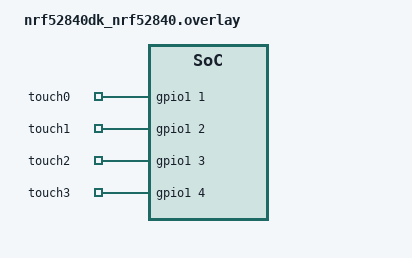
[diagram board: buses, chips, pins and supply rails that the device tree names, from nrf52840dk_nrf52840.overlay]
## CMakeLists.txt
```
# SPDX-License-Identifier: Apache-2.0

cmake_minimum_required(VERSION 3.20.0)
find_package(Zephyr REQUIRED HINTS $ENV{ZEPHYR_BASE})
project(dynaforce)

target_sources(app PRIVATE src/main.c)
```

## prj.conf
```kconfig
CONFIG_PM=y
CONFIG_LOG=n
CONFIG_SERIAL=n
CONFIG_BT=y
CONFIG_BT_BROADCASTER=y
CONFIG_BT_CTLR_PHY_CODED=y
CONFIG_BT_CTLR_ADV_EXT=y

CONFIG_BT_EXT_ADV=y
CONFIG_BT_USER_PHY_UPDATE=y
#enble coded
CONFIG_BT_CTLR_ADV_EXT=y

CONFIG_BT_EXT_ADV=y
CONFIG_MAIN_STACK_SIZE=4096
CONFIG_ISR_STACK_SIZE=4096
CONFIG_HEAP_MEM_POOL_SIZE=2048
```

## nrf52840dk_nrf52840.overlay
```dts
/ {
    buttons {
        touch0: touch_0 {
            gpios = <&gpio1 1 (GPIO_ACTIVE_HIGH | GPIO_PULL_DOWN)>;
        };
    };
};

/ {
    buttons {
        touch1: touch_1 {
            gpios = <&gpio1 2 (GPIO_ACTIVE_HIGH | GPIO_PULL_DOWN)>;
        };
    };
};

/ {
    buttons {
        touch2: touch_2 {
            gpios = <&gpio1 3 (GPIO_ACTIVE_HIGH | GPIO_PULL_DOWN)>;
        };
    };
};

/ {
    buttons {
        touch3: touch_3 {
            gpios = <&gpio1 4 (GPIO_ACTIVE_HIGH | GPIO_PULL_DOWN)>;
        };
    };
};
```

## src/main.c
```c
#include <zephyr/kernel.h>
#include <zephyr/device.h>
#include <zephyr/drivers/gpio.h>
#include <zephyr/sys/util.h>
#include <zephyr/logging/log.h>
#include <zephyr/bluetooth/bluetooth.h>
#include <zephyr/bluetooth/gap.h>
#include <zephyr/bluetooth/addr.h>

#include <zephyr/types.h>
#include <stddef.h>
#include <zephyr/sys/printk.h>
#include <zephyr/sys/util.h>


#include <zephyr/bluetooth/hci.h>


LOG_MODULE_REGISTER(dynaforce, LOG_LEVEL_INF);
#define BUTTONS_NODE DT_PATH(buttons)
#define GPIO0_DEV DEVICE_DT_GET(DT_NODELABEL(gpio0))
#define GPIO1_DEV DEVICE_DT_GET(DT_NODELABEL(gpio1))

//This solution has not been finished, it is not fully working yet.
//However, it presents the idea about acknowledgements via scan requests, and the debouncing of the buttons
//that were mentioned in the report.

#define GPIO_SPEC_AND_COMMA(button) GPIO_DT_SPEC_GET(button, gpios),
static const struct gpio_dt_spec buttons[] = {
#if DT_NODE_EXISTS(BUTTONS_NODE)
	DT_FOREACH_CHILD(BUTTONS_NODE, GPIO_SPEC_AND_COMMA)
#endif
};

//ble address of central towards which we are advertising 47:C3:E7:47:74:2C
#define CENTRAL_ADDR 0x2C,0x74,0x47,0xE7,0xC3,0x47
static const uint8_t central_addr[6] = {CENTRAL_ADDR};
bt_addr_le_t central_addr_le = {.type = BT_ADDR_LE_RANDOM, .a = {.val = CENTRAL_ADDR}};

#define ADV_MIN 100/0.625
#define ADV_MAX 101/0.625
#define COMPANY_ID_CODE            0x0059//This is nordic's company ID, Algra Group should
//get their own company ID if using this solution


#define DEVICE_NAME "DynaForceButtons"
#define DEVICE_NAME_LEN (sizeof(DEVICE_NAME) - 1)
static struct bt_le_ext_adv *adv;

typedef struct __attribute__((packed)) message{
	uint32_t buttonstate;
	int64_t timestamp;
} message_t;

typedef struct adv_mfg_data {
	uint16_t company_code;	    /* Company Identifier Code. */
	message_t message;      
} adv_mfg_data_type;

static adv_mfg_data_type adv_mfg_data = {COMPANY_ID_CODE,0,0};

static const struct bt_data ad[] = {
	BT_DATA_BYTES(BT_DATA_FLAGS, BT_LE_AD_NO_BREDR),
	BT_DATA(BT_DATA_NAME_COMPLETE, DEVICE_NAME, DEVICE_NAME_LEN),
	
};



static const struct bt_data sd[] = {
	BT_DATA(BT_DATA_MANUFACTURER_DATA,&adv_mfg_data, sizeof(adv_mfg_data))
};
static struct bt_le_adv_param *adv_param =
	BT_LE_ADV_PARAM(BT_LE_ADV_OPT_SCANNABLE | BT_LE_ADV_OPT_NOTIFY_SCAN_REQ,
	ADV_MIN,
	ADV_MAX,
	NULL);

static struct gpio_callback button_cb_port0;
static struct gpio_callback button_cb_port1;
volatile uint32_t button_pressed = 0;
volatile uint32_t button_pressed2 = 0;
volatile uint64_t button_timestamp = 0;
volatile uint64_t button_timestamp2 = 0;

uint32_t pinmask_port0 = 0;
uint32_t pinmask_port1 = 0;

//semaphore to signal that a message has been received
static struct k_sem message_received;


void button_thread(void);
K_THREAD_DEFINE(button_thread_id, 1024, button_thread, NULL, NULL, NULL, 7, 0, 0);

static void scanned(struct bt_le_ext_adv *adv, struct bt_le_ext_adv_scanned_info *info) {
	char addr[BT_ADDR_LE_STR_LEN];
	bool eq = bt_addr_le_eq(&info->addr, &central_addr_le);
	LOG_INF("bool: %d", eq);
	//check if the message is from a device we care about
	if(eq){
		//give the semaphore to signal that a message has been received
		k_sem_give(&message_received);
		
		LOG_INF("Scanned by THE central");
	}

	bt_addr_le_to_str(info->addr, addr, sizeof(addr));
    LOG_INF("Scanned by addr:%s\n", addr);
	bt_addr_le_to_str(&central_addr_le, addr, sizeof(addr));
	LOG_INF("Should be:%s\n", addr);
}

static struct bt_le_ext_adv_cb adv_callbacks = {
        .sent = NULL,
		.connected = NULL,
        .scanned = scanned
 };

void button_pressed_cb(const struct device *dev, struct gpio_callback *cb, uint32_t pins)
{
	
	button_timestamp = k_uptime_get();
	button_pressed = pins;
	k_wakeup(button_thread_id);
	LOG_INF("callback2 at %d, ----------------------%d\n", button_timestamp, pins);
}

void button_pressed_cb2(const struct device *dev, struct gpio_callback *cb, uint32_t pins)
{
	
	button_timestamp2 = k_uptime_get();
	button_pressed2 = pins;
	k_wakeup(button_thread_id);
	LOG_INF("callback2 at %d, ----------------------%d\n", button_timestamp, pins);
}

void disable_button_interrupts(void){
	int err;
	for(int i = 0; i < ARRAY_SIZE(buttons); i++){
		err = gpio_pin_interrupt_configure_dt(&buttons[i],
					      GPIO_INT_DISABLE);
		if (err != 0) {
			LOG_INF("Error %d: failed to disable interrupt on %s pin %d\n",
				err, buttons[i].port->name, buttons[i].pin);
		}
	}
	
}

void enable_button_interrupts(void){
	int err;
	for(int i = 0; i < ARRAY_SIZE(buttons); i++){
		err = gpio_pin_interrupt_configure_dt(&buttons[i],
					      GPIO_INT_EDGE_TO_ACTIVE);
		if (err != 0) {
			LOG_INF("Error %d: failed to configure interrupt on %s pin %d\n",
				err, buttons[i].port->name, buttons[i].pin);
		}
	}
	
}


int buttons_init(void){
	
	for(int i = 0; i < ARRAY_SIZE(buttons); i++){
		if(buttons[i].port == GPIO0_DEV){
			pinmask_port0 |= BIT(buttons[i].pin);
		}
		else if(buttons[i].port == GPIO1_DEV){
			pinmask_port1 |= BIT(buttons[i].pin);
		}
		else{
			LOG_ERR("Button %s pin %d not on GPIO0 or GPIO1", buttons[i].port->name, buttons[i].pin);
		}
	}

	gpio_init_callback(&button_cb_port0, button_pressed_cb, pinmask_port0);
	gpio_init_callback(&button_cb_port1, button_pressed_cb2, pinmask_port1);
	int ret;
	// Check if all buttons are ready
	for (int i=0; i < ARRAY_SIZE(buttons); i++) {
		if (!gpio_is_ready_dt(&buttons[i])) {
		LOG_ERR("Error: button device %s is not ready\n",
		       buttons[i].port->name);
		return 0;
		}
		else{
			LOG_INF("Button device %s is ready\n",
		       buttons[i].port->name);
		}
	}
	// Configure all buttons as inputs
	for (int i = 0; i < ARRAY_SIZE(buttons); i++) {
		ret = gpio_pin_configure_dt(&buttons[i], GPIO_INPUT);
		if (ret != 0) {
			LOG_ERR("Error %d: failed to configure %s pin %d\n",
				ret, buttons[i].port->name, buttons[i].pin);
			return ret;
		}
		else{
			LOG_INF("Button %s pin %d configured\n",
				buttons[i].port->name, buttons[i].pin);
		}
	}

	for(int i = 0; i < ARRAY_SIZE(buttons); i++){
		ret = gpio_pin_interrupt_configure_dt(&buttons[i],
					      GPIO_INT_EDGE_TO_ACTIVE);
		if (ret != 0) {
			LOG_ERR("Error %d: failed to configure interrupt on %s pin %d\n",
				ret, buttons[i].port->name, buttons[i].pin);
			return 0;
		}
		if(buttons[i].port == GPIO0_DEV){
			gpio_add_callback(buttons[i].port, &button_cb_port0);
		}
		else if(buttons[i].port == GPIO1_DEV){
			gpio_add_callback(buttons[i].port, &button_cb_port1);
		}
		else{
			LOG_ERR("Button %s pin %d not on GPIO0 or GPIO1", buttons[i].port->name, buttons[i].pin);
		}
		LOG_INF("Set up button at %s pin %d\n", buttons[i].port->name, buttons[i].pin);
	}



	return 0;
}



static uint32_t get_buttons(void)
{
	uint32_t ret = 0;
	for (size_t i = 0; i < ARRAY_SIZE(buttons); i++) {
		int val;

		val = gpio_pin_get_dt(&buttons[i]);
		if (val < 0) {
			LOG_ERR("Cannot read gpio pin");
			return 0;
		}
		if (val) {
			ret |= 1U << i;
		}
	}

	return ret;
}

uint8_t buttonstateToUint(uint32_t buttonstate, uint32_t buttonstate2){
	//pack the 8 buttons into a uint8_t
	uint8_t ret = 0;
	int ctr = 0;
	//check buttons on the first port
	for(int i = 0; i < 32; i++){
		if(pinmask_port0 & (1 << i)){
			ret |= ((buttonstate >> i) & 1) << ctr;
			ctr++;
			if(ctr > 4){
				LOG_ERR("More buttons than attached to the port are pressed, buttonstate: 0x%x, ret 0x%x", buttonstate, ret);
				break;
			}
		}
	}
	//check buttons on the second port
	ctr = 0;
	for(int i = 0; i < 32; i++){
		if(pinmask_port1 & (1 << i)){
			ret |= ((buttonstate2 >> i) & 1) << (ctr + 4);
			ctr++;
			if(ctr > 4){
				LOG_ERR("More buttons than attached to the port are pressed, buttonstate2: 0x%x, ret 0x%x", buttonstate2, ret);
				break;
			}
		}
	}

	return ret;
}

void button_thread(void){
	LOG_INF("Button thread started");
	uint32_t buttons = 0;
	uint32_t prev_buttons = 0;
	int err;
	int messages_waiting = 0;
	uint64_t timestamp = 0;
	uint64_t timestamp2 = 0;
	message_t to_send[10];
	k_sleep(K_MSEC(1000));
	while(1){
		//sleep until a button is pressed
		k_sleep(K_FOREVER);

		LOG_INF("Thread woken up");
		//disable the button interrupts
		disable_button_interrupts();
		adv_mfg_data.message.buttonstate = (uint16_t)buttonstateToUint(button_pressed, button_pressed2);
		adv_mfg_data.message.timestamp = button_timestamp;
		err = bt_le_ext_adv_set_data(adv, ad, ARRAY_SIZE(ad), sd, ARRAY_SIZE(sd));
		if (err) {
			LOG_ERR("Failed to set advertising data (%d)\n", err);
			return -1;
		}
		LOG_INF("Message updated to %d, %d", adv_mfg_data.message.buttonstate, adv_mfg_data.message.timestamp);
		err = bt_le_ext_adv_start(adv, BT_LE_EXT_ADV_START_DEFAULT);
		if (err) {
			LOG_ERR("Advertising failed to start (err %d)\n", err);
			k_sleep(K_FOREVER);
		}
		LOG_INF("Advertising started");
		timestamp = k_uptime_get();
		//start polling buttons for subsequent presses
		do{
			LOG_INF("Polling buttons");
			k_msleep(100);
			prev_buttons = buttons;
			buttons = get_buttons();
			if(prev_buttons == 0 && buttons != 0){
				//if a button is pressed, add it to the message
				to_send[messages_waiting].buttonstate = buttons;
				to_send[messages_waiting].timestamp = k_uptime_get();
				messages_waiting++;
				if(messages_waiting >= 9){
					LOG_ERR("Too many messages waiting to be sent, %d", messages_waiting);
					break;
				}
				LOG_INF("Button pressed, added to message, %d", to_send[messages_waiting-1].buttonstate);
			}
			if(k_sem_take(&message_received, K_NO_WAIT) && messages_waiting) {
				//if scanner scanned our message, we can add a pending one
				messages_waiting--;
				adv_mfg_data.message = to_send[messages_waiting];
				
				err = bt_le_ext_adv_set_data(adv, ad, ARRAY_SIZE(ad), sd, ARRAY_SIZE(sd));
				if (err) {
					LOG_ERR("Failed to set advertising data (%d)\n", err);
					return -1;
				}
				LOG_INF("Message sent, %d, %d", adv_mfg_data.message.buttonstate, adv_mfg_data.message.timestamp);
			}

			timestamp2 = k_uptime_get();
		}while(messages_waiting || (timestamp2 - timestamp < 1000));
		//stop advertising
		err = bt_le_ext_adv_stop(adv);
		if (err) {
			LOG_ERR("Advertising failed to stop (err %d)\n", err);
			k_sleep(K_FOREVER);
		}
		LOG_INF("Advertising stopped");
		//enable button interrupts
		enable_button_interrupts();
		LOG_INF("Thread going to sleep");

	}
}
	


int main(void)
{
	if (NRF_UICR->REGOUT0 != UICR_REGOUT0_VOUT_3V3) 
	{
		NRF_NVMC->CONFIG = NVMC_CONFIG_WEN_Wen << NVMC_CONFIG_WEN_Pos;
		while (NRF_NVMC->READY == NVMC_READY_READY_Busy){}
		NRF_UICR->REGOUT0 = UICR_REGOUT0_VOUT_3V3;

		NRF_NVMC->CONFIG = NVMC_CONFIG_WEN_Ren << NVMC_CONFIG_WEN_Pos;
		while (NRF_NVMC->READY == NVMC_READY_READY_Busy){}
	}
	int err;
	char central[BT_ADDR_LE_STR_LEN];
	bt_addr_le_to_str(&central_addr_le, central, sizeof(central));
	LOG_INF("Central we are going for: %s", central);
	k_sem_init(&message_received, 0, 10);
	
	k_msleep(1000);
	printk("pinmask0 0x%x, pinmask1 0x%x, array size: %d\n",  pinmask_port0, pinmask_port1,ARRAY_SIZE(buttons));
	err = bt_enable(NULL);
	if (err) {
		LOG_ERR("Bluetooth init failed (err %d)\n", err);
		return -1;
	}

	err = bt_le_ext_adv_create(adv_param, &adv_callbacks, &adv);
    if (err) {
        LOG_ERR("Failed to create advertiser set (%d)\n", err);
        return -1;
    }
	err = bt_le_ext_adv_set_data(adv, ad, ARRAY_SIZE(ad), sd, ARRAY_SIZE(sd));
    if (err) {
        LOG_ERR("Failed to set advertising data (%d)\n", err);
        return -1;
    }

	if(!buttons_init()){
		LOG_INF("Buttons initialized");
	}
	else{
		LOG_ERR("Buttons not initialized");
	}

	while(1){
		k_sleep(K_FOREVER);
	}

	// err = bt_le_ext_adv_start(adv, BT_LE_EXT_ADV_START_DEFAULT);
    // if (err) {
    //     LOG_ERR("Failed to start advertising set (%d)\n", err);
    //     return -1;
    // }
	// LOG_INF("Advertising started");


	// uint32_t buttons = 0;
	// while(1){
	// 	if(button_pressed || button_pressed2){
	// 		adv_mfg_data.message.buttonstate = (uint16_t)buttonstateToUint(button_pressed, button_pressed2);
	// 		adv_mfg_data.message.timestamp = k_uptime_get();
	// 		bt_le_ext_adv_set_data(adv, ad, ARRAY_SIZE(ad), sd, ARRAY_SIZE(sd));
	// 		button_pressed = 0, button_pressed2 = 0;
	// 		LOG_INF("Button pressed, advertising updated to %d", adv_mfg_data.message.buttonstate);
	// 		k_msleep(1000);
	// 	}
	// 	else{
	// 		adv_mfg_data.message.buttonstate = 0;
	// 		adv_mfg_data.message.timestamp = 0;
	// 		bt_le_ext_adv_set_data(adv, ad, ARRAY_SIZE(ad), sd, ARRAY_SIZE(sd));
	// 	}
		
	// }
	return 0;
}
```
